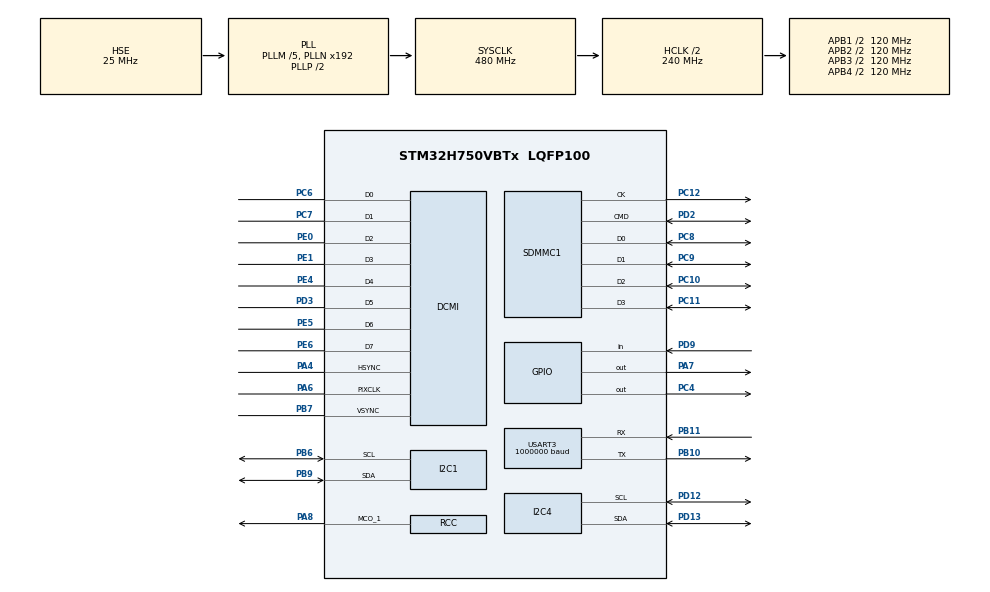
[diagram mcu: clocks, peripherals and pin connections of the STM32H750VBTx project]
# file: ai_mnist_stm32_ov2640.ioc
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CORTEX_M7.default_mode_Activation=1
DCMI.JPEGMode=DCMI_JPEG_DISABLE
DCMI.PCKPolarity=DCMI_PCKPOLARITY_RISING
DCMI.VSPolarity=DCMI_VSPOLARITY_HIGH
Dma.DCMI.0.Direction=DMA_PERIPH_TO_MEMORY
Dma.DCMI.0.EventEnable=DISABLE
Dma.DCMI.0.FIFOMode=DMA_FIFOMODE_DISABLE
Dma.DCMI.0.Instance=DMA1_Stream0
Dma.DCMI.0.MemDataAlignment=DMA_MDATAALIGN_WORD
Dma.DCMI.0.MemInc=DMA_MINC_ENABLE
Dma.DCMI.0.Mode=DMA_NORMAL
Dma.DCMI.0.PeriphDataAlignment=DMA_PDATAALIGN_WORD
Dma.DCMI.0.PeriphInc=DMA_PINC_DISABLE
Dma.DCMI.0.Polarity=HAL_DMAMUX_REQ_GEN_RISING
Dma.DCMI.0.Priority=DMA_PRIORITY_LOW
Dma.DCMI.0.RequestNumber=1
Dma.DCMI.0.SignalID=NONE
Dma.DCMI.0.SyncEnable=DISABLE
Dma.DCMI.0.SyncPolarity=HAL_DMAMUX_SYNC_NO_EVENT
Dma.DCMI.0.SyncRequestNumber=1
Dma.DCMI.0.SyncSignalID=NONE
Dma.Request0=DCMI
FATFS.BSP.number=1
FATFS._USE_LFN=1
FATFS0.BSP.STBoard=false
FATFS0.BSP.api=Unknown
FATFS0.BSP.instance=PD9
FATFS0.BSP.ip=GPIO
FATFS0.BSP.mode=Input
FATFS0.BSP.name=Detect_SDIO
FATFS0.BSP.solution=PD9
I2C1.Timing=0x307075B1
I2C4.Timing=0x307075B1
Mcu.Family=STM32H7
Mcu.Name=STM32H750VBTx
Mcu.Package=LQFP100
NVIC.DMA1_Stream0_IRQn=true\:0\:0\:false\:false\:true\:false\:true\:true
NVIC.PriorityGroup=NVIC_PRIORITYGROUP_4
NVIC.SDMMC1_IRQn=true\:0\:0\:false\:false\:true\:true\:true\:true
PA4.Mode=Slave_8_bits_External_Synchro
PA4.Signal=DCMI_HSYNC
PA6.Mode=Slave_8_bits_External_Synchro
PA6.Signal=DCMI_PIXCLK
PA7.Signal=GPIO_Output
PA8.Mode=Clock-out-1
PA8.Signal=RCC_MCO_1
PB10.Mode=Asynchronous
PB10.Signal=USART3_TX
PB11.Mode=Asynchronous
PB11.Signal=USART3_RX
PB6.Mode=I2C
PB6.Signal=I2C1_SCL
PB7.Mode=Slave_8_bits_External_Synchro
PB7.Signal=DCMI_VSYNC
PB9.Mode=I2C
PB9.Signal=I2C1_SDA
PC10.Mode=SD_4_bits_Wide_bus
PC10.Signal=SDMMC1_D2
PC11.Mode=SD_4_bits_Wide_bus
PC11.Signal=SDMMC1_D3
PC12.Mode=SD_4_bits_Wide_bus
PC12.Signal=SDMMC1_CK
PC14-OSC32_IN\ (OSC32_IN).Mode=LSE-External-Oscillator
PC14-OSC32_IN\ (OSC32_IN).Signal=RCC_OSC32_IN
PC15-OSC32_OUT\ (OSC32_OUT).Mode=LSE-External-Oscillator
PC15-OSC32_OUT\ (OSC32_OUT).Signal=RCC_OSC32_OUT
PC4.Signal=GPIO_Output
PC6.Mode=Slave_8_bits_External_Synchro
PC6.Signal=DCMI_D0
PC7.Mode=Slave_8_bits_External_Synchro
PC7.Signal=DCMI_D1
PC8.Mode=SD_4_bits_Wide_bus
PC8.Signal=SDMMC1_D0
PC9.Mode=SD_4_bits_Wide_bus
PC9.Signal=SDMMC1_D1
PD12.Mode=I2C
PD12.Signal=I2C4_SCL
PD13.Mode=I2C
PD13.Signal=I2C4_SDA
PD2.Mode=SD_4_bits_Wide_bus
PD2.Signal=SDMMC1_CMD
PD3.Mode=Slave_8_bits_External_Synchro
PD3.Signal=DCMI_D5
PD9.GPIO_PuPd=GPIO_PULLDOWN
PD9.Signal=GPIO_Input
PE0.Mode=Slave_8_bits_External_Synchro
PE0.Signal=DCMI_D2
PE1.Mode=Slave_8_bits_External_Synchro
PE1.Signal=DCMI_D3
PE4.Mode=Slave_8_bits_External_Synchro
PE4.Signal=DCMI_D4
PE5.Mode=Slave_8_bits_External_Synchro
PE5.Signal=DCMI_D6
PE6.Mode=Slave_8_bits_External_Synchro
PE6.Signal=DCMI_D7
PH0-OSC_IN\ (PH0).Mode=HSE-External-Oscillator
PH0-OSC_IN\ (PH0).Signal=RCC_OSC_IN
PH1-OSC_OUT\ (PH1).Mode=HSE-External-Oscillator
PH1-OSC_OUT\ (PH1).Signal=RCC_OSC_OUT
ProjectManager.HeapSize=0x200
ProjectManager.StackSize=0x400
ProjectManager.TargetToolchain=STM32CubeIDE
RCC.ADCFreq_Value=50390625
RCC.APB1Freq_Value=120000000
RCC.APB2Freq_Value=120000000
RCC.APB3Freq_Value=120000000
RCC.APB4Freq_Value=120000000
RCC.CortexFreq_Value=480000000
RCC.D1PPRE=RCC_APB3_DIV2
RCC.D2PPRE1=RCC_APB1_DIV2
RCC.D2PPRE2=RCC_APB2_DIV2
RCC.D3PPRE=RCC_APB4_DIV2
RCC.DIVM1=5
RCC.DIVN1=192
RCC.DIVQ1=64
RCC.HCLKFreq_Value=240000000
RCC.HPRE=RCC_HCLK_DIV2
RCC.PLL2FRACN=0
RCC.PLLFRACN=0
RCC.PLLSourceVirtual=RCC_PLLSOURCE_HSE
RCC.RCC_MCO1Source=RCC_MCO1SOURCE_HSE
RCC.SYSCLKFreq_VALUE=480000000
RCC.SYSCLKSource=RCC_SYSCLKSOURCE_PLLCLK
RCC.USBFreq_Value=15000000
USART3.BaudRate=1000000
USART3.VirtualMode-Asynchronous=VM_ASYNC
VP_FATFS_VS_SDIO.Mode=SDIO
VP_MEMORYMAP_VS_MEMORYMAP.Mode=CurAppReg
board=custom

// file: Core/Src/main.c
// /* USER CODE BEGIN Header */
// /**
//   ******************************************************************************
//   * @file           : main.c
//   * @brief          : Main program body
//   ******************************************************************************
//   * @attention
//   *
//   * Copyright (c) 2026 STMicroelectronics.
//   * All rights reserved.
//   *
//   * This software is licensed under terms that can be found in the LICENSE file
//   * in the root directory of this software component.
//   * If no LICENSE file comes with this software, it is provided AS-IS.
//   *
//   ******************************************************************************
//   */
// /* USER CODE END Header */

// /* Includes ------------------------------------------------------------------*/
// #include "main.h"
// #include "fatfs.h"

// /* Private includes ----------------------------------------------------------*/
// /* USER CODE BEGIN Includes */
// #include "ov7670.h"

// #include <stdio.h>
// #include <string.h>

// #include "mnist_784_8_10.h"

// //---------------------------------------------------------------------------------------------------------------------------
// // mode select
// #define CAMERA_UART_AND_OLED   // Change as needed

// #if defined(CAMERA_OLED_DISPLAY) || defined(CAMERA_UART_AND_OLED)
//     #define OLED_ENABLED
// #endif

// #ifdef OLED_ENABLED
// #include "ssd1306.h"
// #endif
// /* USER CODE END Includes */

// /* Private typedef -----------------------------------------------------------*/
// /* USER CODE BEGIN PTD */
// /* USER CODE END PTD */

// /* Private define ------------------------------------------------------------*/
// /* USER CODE BEGIN PD */
// /* USER CODE END PD */

// /* Private macro -------------------------------------------------------------*/
// /* USER CODE BEGIN PM */
// /* USER CODE END PM */

// /* Private variables ---------------------------------------------------------*/

// DCMI_HandleTypeDef hdcmi;
// DMA_HandleTypeDef hdma_dcmi;

// I2C_HandleTypeDef hi2c1;
// I2C_HandleTypeDef hi2c4;

// SD_HandleTypeDef hsd1;

// UART_HandleTypeDef huart3;

// /* USER CODE BEGIN PV */
// uint8_t frame_buf[160 * 120 * 2];
// uint8_t  gray_buf[160 * 120];
// uint8_t  small_buf[28 * 28];

// #ifdef OLED_ENABLED
// uint8_t oled_addr = 0;
// #endif
// /* USER CODE END PV */

// /* Private function prototypes -----------------------------------------------*/
// void SystemClock_Config(void);
// static void MPU_Config(void);
// static void MX_GPIO_Init(void);
// static void MX_DMA_Init(void);
// static void MX_DCMI_Init(void);
// static void MX_I2C1_Init(void);
// static void MX_USART3_UART_Init(void);
// static void MX_I2C4_Init(void);
// static void MX_SDMMC1_SD_Init(void);
// static void MX_SDMMC1_SD_Init(void);

// /* USER CODE BEGIN PFP */
// static void extract_gray(uint8_t *src, uint8_t *dst);
// static void downsample_28x28(uint8_t *src, uint8_t *dst);

// void SD_Card_Test(void);
// FRESULT SD_Save_Camera_Frame(uint8_t *buffer, uint32_t size, const char *filename);
// FRESULT SD_Save_28x28(uint8_t *small_buf, const char *filename);
// FRESULT SD_Log_Prediction(int digit);
// /* USER CODE END PFP */

// /* Private user code ---------------------------------------------------------*/
// /* USER CODE BEGIN 0 */

// /* Redirect printf to UART3 */
// int __io_putchar(int ch)
// {
//     HAL_UART_Transmit(&huart3, (uint8_t *)&ch, 1, HAL_MAX_DELAY);
//     return ch;
// }

// /* USER CODE END 0 */

// /**
//   * @brief  The application entry point.
//   * @retval int
//   */
// int main(void)
// {
//   /* USER CODE BEGIN 1 */
//   /* USER CODE END 1 */

//   MPU_Config();
//   HAL_Init();
//   SystemClock_Config();

//   /* Initialize all configured peripherals */
//   MX_GPIO_Init();
//   MX_DMA_Init();
//   MX_DCMI_Init();
//   MX_I2C1_Init();
//   MX_USART3_UART_Init();
//   MX_I2C4_Init();
//   MX_SDMMC1_SD_Init();
//   MX_FATFS_Init();

//   /* USER CODE BEGIN 2 */

//   // ====================== SD CARD MOUNT TEST ======================
//   SCB_CleanDCache();
//   SCB_InvalidateDCache();

//   SD_Card_Test();
//   // ====================== END SD TEST ======================

//   // Camera & OLED initialization (your original code)
//   HAL_GPIO_WritePin(GPIOA, GPIO_PIN_7, GPIO_PIN_RESET);
//   HAL_GPIO_WritePin(GPIOC, GPIO_PIN_4, GPIO_PIN_SET);
//   HAL_Delay(200);

//   // I2C scan...
//   uint8_t scan_result;
//   for(uint8_t addr = 1; addr < 128; addr++)
//   {
//       if(HAL_I2C_IsDeviceReady(&hi2c1, addr << 1, 1, 10) == HAL_OK)
//       {
//           scan_result = addr;
//           HAL_UART_Transmit(&huart3, (uint8_t*)"FOUND:", 6, 100);
//           HAL_UART_Transmit(&huart3, &scan_result, 1, 100);
//           HAL_UART_Transmit(&huart3, (uint8_t*)"\r\n", 2, 100);
//       }
//   }

//   if(OV7670_Init(&hi2c1) != HAL_OK)
//   {
//       HAL_UART_Transmit(&huart3, (uint8_t*)"CAM_ERROR\r\n", 11, 100);
//       Error_Handler();
//   }
//   HAL_UART_Transmit(&huart3, (uint8_t*)"CAM_OK\r\n", 8, 100);

//   // ... rest of your original initialization code (DCMI, OLED, etc.)
// #if defined(CAMERA_UART_DEBUG) || defined(CAMERA_UART_AND_OLED)
//   HAL_DCMI_Start_DMA(&hdcmi, DCMI_MODE_SNAPSHOT, (uint32_t)frame_buf, sizeof(frame_buf)/4);
//   HAL_Delay(2000);
//   // ... (your existing debug code)
// #endif

// #ifdef OLED_ENABLED
//   oled_addr = 0x3C;
//   if(SSD1306_Init(&hi2c4, oled_addr << 1) == HAL_OK)
//   {
//       HAL_UART_Transmit(&huart3, (uint8_t*)"OLED_OK\r\n", 9, 100);
//   }
//   else
//   {
//       oled_addr = 0;
//       HAL_UART_Transmit(&huart3, (uint8_t*)"OLED_INIT_FAIL\r\n", 16, 100);
//   }
// #endif

//   /* USER CODE END 2 */

//   while (1)
//   {
//     // // Your existing main loop (camera capture, inference, OLED...)
//     // HAL_DCMI_Start_DMA(&hdcmi, DCMI_MODE_SNAPSHOT, (uint32_t)frame_buf, sizeof(frame_buf)/4);
//     // HAL_Delay(500);
//     // HAL_DCMI_Stop(&hdcmi);

//     // extract_gray(frame_buf, gray_buf);
//     // downsample_28x28(gray_buf, small_buf);

//     // float features[784];
//     // for(int i = 0; i < 784; i++)
//     // {
//     //     features[i] = (float)small_buf[i] / 255.0f;
//     // }

//     // int predicted = mnist_model_predict(features, 784);

//     // uint8_t result_buf[20];
//     // sprintf((char*)result_buf, "DIGIT:%d\r\n", predicted);
//     // HAL_UART_Transmit(&huart3, result_buf, strlen((char*)result_buf), 100);

//     // // ... rest of your loop (debug print, OLED update, etc.)

//     // HAL_Delay(100);

//     // Capture frame
//         HAL_DCMI_Start_DMA(&hdcmi, DCMI_MODE_SNAPSHOT, (uint32_t)frame_buf, sizeof(frame_buf)/4);
//         HAL_Delay(300);           // adjust as needed
//         HAL_DCMI_Stop(&hdcmi);

//         extract_gray(frame_buf, gray_buf);
//         downsample_28x28(gray_buf, small_buf);

//         float features[784];
//         for(int i = 0; i < 784; i++) {
//             features[i] = (float)small_buf[i] / 255.0f;
//         }

//         int predicted = mnist_model_predict(features, 784);

//         // === SD CARD OPERATIONS ===
//         SD_Log_Prediction(predicted);                    // Log digit
//         SD_Save_28x28(small_buf, "0:/frame_28x28.bin"); // Save small image
//         // SD_Save_Camera_Frame(frame_buf, sizeof(frame_buf), "0:/raw_frame.bin"); // Full raw frame (big!)

//         // Print result
//         printf("DIGIT:%d\r\n", predicted);

//     #ifdef OLED_ENABLED
//         if(oled_addr != 0) {
//             SSD1306_Clear();
//             SSD1306_DrawGrayBuffer(small_buf, 0, 16, 1);
//             SSD1306_DrawDigit(predicted, 90, 24, 2);
//             SSD1306_UpdateScreen();
//         }
//     #endif

//         HAL_Delay(800);   // Adjust rate
//   }
// }

// /* SD Card Test Function */
// void SD_Card_Test(void)
// {
//     printf("\r\n=== SD Card Mount Test (STM32H750) ===\r\n");

//     FATFS fs;
//     FRESULT fr;

//     fr = f_mount(&fs, "0:", 1);
//     if (fr != FR_OK)
//     {
//         printf("Mount FAILED! Error: %d\r\n", fr);
//         return;
//     }

//     printf("Mount SUCCESS!\r\n");

//     DWORD free_clust;
//     FATFS *pfs;
//     if (f_getfree("0:", &free_clust, &pfs) == FR_OK)
//     {
//         printf("Free space: ~%lu KB\r\n", ((free_clust * pfs->csize) * 512UL) / 1024UL);
//     }

//     FIL fil;
//     UINT bw;
//     if (f_open(&fil, "0:/test_sd.txt", FA_CREATE_ALWAYS | FA_WRITE) == FR_OK)
//     {
//         f_write(&fil, "SD Card works on DevEBOX STM32H750!\r\n", 38, &bw);
//         f_close(&fil);
//         printf("Created test file: test_sd.txt\r\n");
//     }
//     else
//     {
//         printf("Failed to create test file\r\n");
//     }

//     printf("SD Card Test Finished\r\n\r\n");
// }
// /* ==================== SD CARD HELPERS ==================== */

// FRESULT SD_Save_Camera_Frame(uint8_t *buffer, uint32_t size, const char *filename)
// {
//     FIL fil;
//     UINT bw;
//     FRESULT fr;

//     fr = f_open(&fil, filename, FA_CREATE_ALWAYS | FA_WRITE);
//     if (fr != FR_OK) {
//         printf("Open failed: %d\r\n", fr);
//         return fr;
//     }

//     fr = f_write(&fil, buffer, size, &bw);
//     f_close(&fil);

//     printf("Saved %u bytes to %s\r\n", bw, filename);
//     return fr;
// }

// FRESULT SD_Save_28x28(uint8_t *small_buf, const char *filename)
// {
//     FIL fil;
//     UINT bw;
//     FRESULT fr;

//     fr = f_open(&fil, filename, FA_CREATE_ALWAYS | FA_WRITE);
//     if (fr != FR_OK) {
//         printf("Open failed: %d\r\n", fr);
//         return fr;
//     }

//     char header[32];
//     sprintf(header, "28x28\r\n");
//     f_write(&fil, header, strlen(header), &bw);

//     fr = f_write(&fil, small_buf, 28*28, &bw);
//     f_close(&fil);

//     printf("Saved 28x28 image to %s\r\n", filename);
//     return fr;
// }

// FRESULT SD_Log_Prediction(int digit)
// {
//     FIL fil;
//     UINT bw;
//     FRESULT fr;

//     fr = f_open(&fil, "0:/predictions.csv", FA_OPEN_APPEND | FA_WRITE);
//     if (fr == FR_NO_FILE) {
//         fr = f_open(&fil, "0:/predictions.csv", FA_CREATE_ALWAYS | FA_WRITE);
//         if (fr == FR_OK) {
//             f_write(&fil, "Tick,Digit\r\n", 12, &bw);
//         }
//     }
//     if (fr != FR_OK) return fr;

//     char line[32];
//     sprintf(line, "%lu,%d\r\n", HAL_GetTick(), digit);
//     f_write(&fil, line, strlen(line), &bw);
//     f_close(&fil);

//     return FR_OK;
// }

// /**
//   * @brief System Clock Configuration
//   * @retval None
//   */
// void SystemClock_Config(void)
// {
//   RCC_OscInitTypeDef RCC_OscInitStruct = {0};
//   RCC_ClkInitTypeDef RCC_ClkInitStruct = {0};

//   /** Supply configuration update enable
//   */
//   HAL_PWREx_ConfigSupply(PWR_LDO_SUPPLY);

//   /** Configure the main internal regulator output voltage
//   */
//   __HAL_PWR_VOLTAGESCALING_CONFIG(PWR_REGULATOR_VOLTAGE_SCALE0);

//   while(!__HAL_PWR_GET_FLAG(PWR_FLAG_VOSRDY)) {}

//   /** Initializes the RCC Oscillators according to the specified parameters
//   * in the RCC_OscInitTypeDef structure.
//   */
//   RCC_OscInitStruct.OscillatorType = RCC_OSCILLATORTYPE_HSE;
//   RCC_OscInitStruct.HSEState = RCC_HSE_ON;
//   RCC_OscInitStruct.PLL.PLLState = RCC_PLL_ON;
//   RCC_OscInitStruct.PLL.PLLSource = RCC_PLLSOURCE_HSE;
//   RCC_OscInitStruct.PLL.PLLM = 5;
//   RCC_OscInitStruct.PLL.PLLN = 192;
//   RCC_OscInitStruct.PLL.PLLP = 2;
//   RCC_OscInitStruct.PLL.PLLQ = 64;
//   RCC_OscInitStruct.PLL.PLLR = 2;
//   RCC_OscInitStruct.PLL.PLLRGE = RCC_PLL1VCIRANGE_2;
//   RCC_OscInitStruct.PLL.PLLVCOSEL = RCC_PLL1VCOWIDE;
//   RCC_OscInitStruct.PLL.PLLFRACN = 0;
//   if (HAL_RCC_OscConfig(&RCC_OscInitStruct) != HAL_OK)
//   {
//     Error_Handler();
//   }

//   /** Initializes the CPU, AHB and APB buses clocks
//   */
//   RCC_ClkInitStruct.ClockType = RCC_CLOCKTYPE_HCLK|RCC_CLOCKTYPE_SYSCLK
//                               |RCC_CLOCKTYPE_PCLK1|RCC_CLOCKTYPE_PCLK2
//                               |RCC_CLOCKTYPE_D3PCLK1|RCC_CLOCKTYPE_D1PCLK1;
//   RCC_ClkInitStruct.SYSCLKSource = RCC_SYSCLKSOURCE_PLLCLK;
//   RCC_ClkInitStruct.SYSCLKDivider = RCC_SYSCLK_DIV1;
//   RCC_ClkInitStruct.AHBCLKDivider = RCC_HCLK_DIV2;
//   RCC_ClkInitStruct.APB3CLKDivider = RCC_APB3_DIV2;
//   RCC_ClkInitStruct.APB1CLKDivider = RCC_APB1_DIV2;
//   RCC_ClkInitStruct.APB2CLKDivider = RCC_APB2_DIV2;
//   RCC_ClkInitStruct.APB4CLKDivider = RCC_APB4_DIV2;

//   if (HAL_RCC_ClockConfig(&RCC_ClkInitStruct, FLASH_LATENCY_4) != HAL_OK)
//   {
//     Error_Handler();
//   }
//   HAL_RCC_MCOConfig(RCC_MCO1, RCC_MCO1SOURCE_HSE, RCC_MCODIV_1);
// }

// /**
//   * @brief DCMI Initialization Function
//   * @param None
//   * @retval None
//   */
// static void MX_DCMI_Init(void)
// {

//   /* USER CODE BEGIN DCMI_Init 0 */

//   /* USER CODE END DCMI_Init 0 */

//   /* USER CODE BEGIN DCMI_Init 1 */

//   /* USER CODE END DCMI_Init 1 */
//   hdcmi.Instance = DCMI;
//   hdcmi.Init.SynchroMode = DCMI_SYNCHRO_HARDWARE;
//   hdcmi.Init.PCKPolarity = DCMI_PCKPOLARITY_RISING;
//   hdcmi.Init.VSPolarity = DCMI_VSPOLARITY_HIGH;
//   hdcmi.Init.HSPolarity = DCMI_HSPOLARITY_LOW;
//   hdcmi.Init.CaptureRate = DCMI_CR_ALL_FRAME;
//   hdcmi.Init.ExtendedDataMode = DCMI_EXTEND_DATA_8B;
//   hdcmi.Init.JPEGMode = DCMI_JPEG_DISABLE;
//   hdcmi.Init.ByteSelectMode = DCMI_BSM_ALL;
//   hdcmi.Init.ByteSelectStart = DCMI_OEBS_ODD;
//   hdcmi.Init.LineSelectMode = DCMI_LSM_ALL;
//   hdcmi.Init.LineSelectStart = DCMI_OELS_ODD;
//   if (HAL_DCMI_Init(&hdcmi) != HAL_OK)
//   {
//     Error_Handler();
//   }
//   /* USER CODE BEGIN DCMI_Init 2 */

//   /* USER CODE END DCMI_Init 2 */

// }

// /**
//   * @brief I2C1 Initialization Function
//   * @param None
//   * @retval None
//   */
// static void MX_I2C1_Init(void)
// {

//   /* USER CODE BEGIN I2C1_Init 0 */

//   /* USER CODE END I2C1_Init 0 */

//   /* USER CODE BEGIN I2C1_Init 1 */

//   /* USER CODE END I2C1_Init 1 */
//   hi2c1.Instance = I2C1;
//   hi2c1.Init.Timing = 0x307075B1;
//   hi2c1.Init.OwnAddress1 = 0;
//   hi2c1.Init.AddressingMode = I2C_ADDRESSINGMODE_7BIT;
//   hi2c1.Init.DualAddressMode = I2C_DUALADDRESS_DISABLE;
//   hi2c1.Init.OwnAddress2 = 0;
//   hi2c1.Init.OwnAddress2Masks = I2C_OA2_NOMASK;
//   hi2c1.Init.GeneralCallMode = I2C_GENERALCALL_DISABLE;
//   hi2c1.Init.NoStretchMode = I2C_NOSTRETCH_DISABLE;
//   if (HAL_I2C_Init(&hi2c1) != HAL_OK)
//   {
//     Error_Handler();
//   }

//   /** Configure Analogue filter
//   */
//   if (HAL_I2CEx_ConfigAnalogFilter(&hi2c1, I2C_ANALOGFILTER_ENABLE) != HAL_OK)
//   {
//     Error_Handler();
//   }

//   /** Configure Digital filter
//   */
//   if (HAL_I2CEx_ConfigDigitalFilter(&hi2c1, 0) != HAL_OK)
//   {
//     Error_Handler();
//   }
//   /* USER CODE BEGIN I2C1_Init 2 */

//   /* USER CODE END I2C1_Init 2 */

// }

// /**
//   * @brief I2C4 Initialization Function
//   * @param None
//   * @retval None
//   */
// static void MX_I2C4_Init(void)
// {

//   /* USER CODE BEGIN I2C4_Init 0 */

//   /* USER CODE END I2C4_Init 0 */

//   /* USER CODE BEGIN I2C4_Init 1 */

//   /* USER CODE END I2C4_Init 1 */
//   hi2c4.Instance = I2C4;
//   hi2c4.Init.Timing = 0x307075B1;
//   hi2c4.Init.OwnAddress1 = 0;
//   hi2c4.Init.AddressingMode = I2C_ADDRESSINGMODE_7BIT;
//   hi2c4.Init.DualAddressMode = I2C_DUALADDRESS_DISABLE;
//   hi2c4.Init.OwnAddress2 = 0;
//   hi2c4.Init.OwnAddress2Masks = I2C_OA2_NOMASK;
//   hi2c4.Init.GeneralCallMode = I2C_GENERALCALL_DISABLE;
//   hi2c4.Init.NoStretchMode = I2C_NOSTRETCH_DISABLE;
//   if (HAL_I2C_Init(&hi2c4) != HAL_OK)
//   {
//     Error_Handler();
//   }

//   /** Configure Analogue filter
//   */
//   if (HAL_I2CEx_ConfigAnalogFilter(&hi2c4, I2C_ANALOGFILTER_ENABLE) != HAL_OK)
//   {
//     Error_Handler();
//   }

//   /** Configure Digital filter
//   */
//   if (HAL_I2CEx_ConfigDigitalFilter(&hi2c4, 0) != HAL_OK)
//   {
//     Error_Handler();
//   }
//   /* USER CODE BEGIN I2C4_Init 2 */

//   /* USER CODE END I2C4_Init 2 */

// }

// /**
//   * @brief SDMMC1 Initialization Function
//   * @param None
//   * @retval None
//   */
// static void MX_SDMMC1_SD_Init(void)
// {

//   /* USER CODE BEGIN SDMMC1_Init 0 */

//   /* USER CODE END SDMMC1_Init 0 */

//   /* USER CODE BEGIN SDMMC1_Init 1 */

//   /* USER CODE END SDMMC1_Init 1 */
//   hsd1.Instance = SDMMC1;
//   hsd1.Init.ClockEdge = SDMMC_CLOCK_EDGE_RISING;
//   hsd1.Init.ClockPowerSave = SDMMC_CLOCK_POWER_SAVE_DISABLE;
//   hsd1.Init.BusWide = SDMMC_BUS_WIDE_4B;
//   hsd1.Init.HardwareFlowControl = SDMMC_HARDWARE_FLOW_CONTROL_DISABLE;
//   hsd1.Init.ClockDiv = 0;
//   if (HAL_SD_Init(&hsd1) != HAL_OK)
//   {
//     Error_Handler();
//   }
//   /* USER CODE BEGIN SDMMC1_Init 2 */

//   /* USER CODE END SDMMC1_Init 2 */

// }

// /**
//   * @brief USART3 Initialization Function
//   * @param None
//   * @retval None
//   */
// static void MX_USART3_UART_Init(void)
// {

//   /* USER CODE BEGIN USART3_Init 0 */

//   /* USER CODE END USART3_Init 0 */

//   /* USER CODE BEGIN USART3_Init 1 */

//   /* USER CODE END USART3_Init 1 */
//   huart3.Instance = USART3;
//   huart3.Init.BaudRate = 1000000;
//   huart3.Init.WordLength = UART_WORDLENGTH_8B;
//   huart3.Init.StopBits = UART_STOPBITS_1;
//   huart3.Init.Parity = UART_PARITY_NONE;
//   huart3.Init.Mode = UART_MODE_TX_RX;
//   huart3.Init.HwFlowCtl = UART_HWCONTROL_NONE;
//   huart3.Init.OverSampling = UART_OVERSAMPLING_16;
//   huart3.Init.OneBitSampling = UART_ONE_BIT_SAMPLE_DISABLE;
//   huart3.Init.ClockPrescaler = UART_PRESCALER_DIV1;
//   huart3.AdvancedInit.AdvFeatureInit = UART_ADVFEATURE_NO_INIT;
//   if (HAL_UART_Init(&huart3) != HAL_OK)
//   {
//     Error_Handler();
//   }
//   if (HAL_UARTEx_SetTxFifoThreshold(&huart3, UART_TXFIFO_THRESHOLD_1_8) != HAL_OK)
//   {
//     Error_Handler();
//   }
//   if (HAL_UARTEx_SetRxFifoThreshold(&huart3, UART_RXFIFO_THRESHOLD_1_8) != HAL_OK)
//   {
//     Error_Handler();
//   }
//   if (HAL_UARTEx_DisableFifoMode(&huart3) != HAL_OK)
//   {
//     Error_Handler();
//   }
//   /* USER CODE BEGIN USART3_Init 2 */

//   /* USER CODE END USART3_Init 2 */

// }

// /**
//   * Enable DMA controller clock
//   */
// static void MX_DMA_Init(void)
// {

//   /* DMA controller clock enable */
//   __HAL_RCC_DMA1_CLK_ENABLE();

//   /* DMA interrupt init */
//   /* DMA1_Stream0_IRQn interrupt configuration */
//   HAL_NVIC_SetPriority(DMA1_Stream0_IRQn, 0, 0);
//   HAL_NVIC_EnableIRQ(DMA1_Stream0_IRQn);

// }

// /**
//   * @brief GPIO Initialization Function
//   * @param None
//   * @retval None
//   */
// static void MX_GPIO_Init(void)
// {
//   GPIO_InitTypeDef GPIO_InitStruct = {0};
//   /* USER CODE BEGIN MX_GPIO_Init_1 */

//   /* USER CODE END MX_GPIO_Init_1 */

//   /* GPIO Ports Clock Enable */
//   __HAL_RCC_GPIOE_CLK_ENABLE();
//   __HAL_RCC_GPIOC_CLK_ENABLE();
//   __HAL_RCC_GPIOH_CLK_ENABLE();
//   __HAL_RCC_GPIOA_CLK_ENABLE();
//   __HAL_RCC_GPIOB_CLK_ENABLE();
//   __HAL_RCC_GPIOD_CLK_ENABLE();

//   /*Configure GPIO pin Output Level */
//   HAL_GPIO_WritePin(GPIOA, GPIO_PIN_7, GPIO_PIN_RESET);

//   /*Configure GPIO pin Output Level */
//   HAL_GPIO_WritePin(GPIOC, GPIO_PIN_4, GPIO_PIN_RESET);

//   /*Configure GPIO pin : PA7 */
//   GPIO_InitStruct.Pin = GPIO_PIN_7;
//   GPIO_InitStruct.Mode = GPIO_MODE_OUTPUT_PP;
//   GPIO_InitStruct.Pull = GPIO_NOPULL;
//   GPIO_InitStruct.Speed = GPIO_SPEED_FREQ_LOW;
//   HAL_GPIO_Init(GPIOA, &GPIO_InitStruct);

//   /*Configure GPIO pin : PC4 */
//   GPIO_InitStruct.Pin = GPIO_PIN_4;
//   GPIO_InitStruct.Mode = GPIO_MODE_OUTPUT_PP;
//   GPIO_InitStruct.Pull = GPIO_NOPULL;
//   GPIO_InitStruct.Speed = GPIO_SPEED_FREQ_LOW;
//   HAL_GPIO_Init(GPIOC, &GPIO_InitStruct);

//   /*Configure GPIO pin : PD9 */
//   GPIO_InitStruct.Pin = GPIO_PIN_9;
//   GPIO_InitStruct.Mode = GPIO_MODE_INPUT;
//   GPIO_InitStruct.Pull = GPIO_PULLDOWN;
//   HAL_GPIO_Init(GPIOD, &GPIO_InitStruct);

//   /*Configure GPIO pin : PA8 */
//   GPIO_InitStruct.Pin = GPIO_PIN_8;
//   GPIO_InitStruct.Mode = GPIO_MODE_AF_PP;
//   GPIO_InitStruct.Pull = GPIO_NOPULL;
//   GPIO_InitStruct.Speed = GPIO_SPEED_FREQ_LOW;
//   GPIO_InitStruct.Alternate = GPIO_AF0_MCO;
//   HAL_GPIO_Init(GPIOA, &GPIO_InitStruct);

//   /* USER CODE BEGIN MX_GPIO_Init_2 */
// #ifdef OLED_ENABLED
//   // ---> I2C4 pins, only configured in OLED mode, so debug mode's GPIO state is
//   //      identical to the original known-working build
//   GPIO_InitTypeDef GPIO_InitStruct_I2C4 = {0};
//   GPIO_InitStruct_I2C4.Pin       = GPIO_PIN_12 | GPIO_PIN_13;   // ---> PD12 = SCL, PD13 = SDA
//   GPIO_InitStruct_I2C4.Mode      = GPIO_MODE_AF_OD;
//   GPIO_InitStruct_I2C4.Pull      = GPIO_PULLUP;
//   GPIO_InitStruct_I2C4.Speed     = GPIO_SPEED_FREQ_LOW;
//   GPIO_InitStruct_I2C4.Alternate = GPIO_AF4_I2C4;
//   HAL_GPIO_Init(GPIOD, &GPIO_InitStruct_I2C4);
// #endif
//   /* USER CODE END MX_GPIO_Init_2 */
// }

// /* USER CODE BEGIN 4 */

// //---------------------------------------------------------------------------------------------------------------------------
// // extract_gray :
// //   ---> extracts Y channel from YUV422 frame buffer
// //   ---> YUV422 format : Y0 U0 Y1 V0 Y2 U2 Y3 V2 ...
// //   ---> inputs  : src  ---> YUV422 buffer (160*120*2 bytes)
// //   ---> outputs : dst  ---> grayscale buffer (160*120 bytes)
// //---------------------------------------------------------------------------------------------------------------------------
// static void extract_gray(uint8_t *src, uint8_t *dst)
// {
//     for(int i = 0; i < 160 * 120; i++)
//     {
//         dst[i] = src[i * 2 + 1];     // ---> Y is at the odd byte index for this camera
//     }
// }
// //---------------------------------------------------------------------------------------------------------------------------

// //---------------------------------------------------------------------------------------------------------------------------
// // downsample_28x28 :
// //   ---> center crops 90x120 from 160x120 then downsamples to 28x28
// //   ---> applies adaptive threshold + inversion to match MNIST style
// //   ---> inputs  : src ---> grayscale buffer (160*120 bytes)
// //   ---> outputs : dst ---> 28x28 buffer (784 bytes)
// //---------------------------------------------------------------------------------------------------------------------------
// static void downsample_28x28(uint8_t *src, uint8_t *dst)
// {
//     int x_start = 35;
//     int y_start = 0;
//     int width   = 90;
//     int height  = 120;

//     // ---> compute adaptive threshold from center region
//     uint32_t total = 0;
//     for(int y = y_start + 5; y < y_start + height - 5; y++)
//         for(int x = x_start + 5; x < x_start + width - 5; x++)
//             total += src[y * 160 + x];
//     uint8_t threshold = (uint8_t)(total / (100 * 100));

//     // ---> downsample to 28x28
//     for(int row = 0; row < 28; row++)
//     {
//         for(int col = 0; col < 28; col++)
//         {
//             uint32_t sum = 0;
//             int count = 0;

//             for(int dy = 0; dy < 4; dy++)
//             {
//                 for(int dx = 0; dx < 4; dx++)
//                 {
//                     int y = y_start + (row * height / 28) + dy;
//                     int x = x_start + (col * width  / 28) + dx;
//                     if(y < 120 && x < 160)
//                     {
//                         sum += src[y * 160 + x];
//                         count++;
//                     }
//                 }
//             }

//             uint8_t avg = count > 0 ? (uint8_t)(sum / count) : 128;

//             // ---> stretch contrast instead of hard threshold, invert so dark digit
//             //      on white paper becomes bright on dark, like MNIST
//             dst[row * 28 + col] = (avg < threshold) ? (uint8_t)((threshold - avg) * 255 / threshold) : 0;
//         }
//     }

//     // ---> only force left and right borders
//     for(int i = 0; i < 28; i++)
//     {
//         dst[i * 28 + 0]  = 0;
//         dst[i * 28 + 1]  = 0;
//         dst[i * 28 + 2]  = 0;
//         dst[i * 28 + 27] = 0;
//         dst[i * 28 + 26] = 0;
//         dst[i * 28 + 25] = 0;
//     }
// }

// //---------------------------------------------------------------------------------------------------------------------------

// /* USER CODE END 4 */

//  /* MPU Configuration */

// void MPU_Config(void)
// {
//   MPU_Region_InitTypeDef MPU_InitStruct = {0};

//   /* Disables the MPU */
//   HAL_MPU_Disable();

//   /** Initializes and configures the Region and the memory to be protected
//   */
//   MPU_InitStruct.Enable = MPU_REGION_ENABLE;
//   MPU_InitStruct.Number = MPU_REGION_NUMBER0;
//   MPU_InitStruct.BaseAddress = 0x0;
//   MPU_InitStruct.Size = MPU_REGION_SIZE_4GB;
//   MPU_InitStruct.SubRegionDisable = 0x87;
//   MPU_InitStruct.TypeExtField = MPU_TEX_LEVEL0;
//   MPU_InitStruct.AccessPermission = MPU_REGION_NO_ACCESS;
//   MPU_InitStruct.DisableExec = MPU_INSTRUCTION_ACCESS_DISABLE;
//   MPU_InitStruct.IsShareable = MPU_ACCESS_SHAREABLE;
//   MPU_InitStruct.IsCacheable = MPU_ACCESS_NOT_CACHEABLE;
//   MPU_InitStruct.IsBufferable = MPU_ACCESS_NOT_BUFFERABLE;

//   HAL_MPU_ConfigRegion(&MPU_InitStruct);
//   /* Enables the MPU */
//   HAL_MPU_Enable(MPU_PRIVILEGED_DEFAULT);

// }

// /**
//   * @brief  This function is executed in case of error occurrence.
//   * @retval None
//   */
// void Error_Handler(void)
// {
//   /* USER CODE BEGIN Error_Handler_Debug */
//   /* User can add his own implementation to report the HAL error return state */
//   __disable_irq();
//   while (1)
//   {
//   }
//   /* USER CODE END Error_Handler_Debug */
// }
// #ifdef USE_FULL_ASSERT
// /**
//   * @brief  Reports the name of the source file and the source line number
//   *         where the assert_param error has occurred.
//   * @param  file: pointer to the source file name
//   * @param  line: assert_param error line source number
//   * @retval None
//   */
// void assert_failed(uint8_t *file, uint32_t line)
// {
//   /* USER CODE BEGIN 6 */
//   /* User can add his own implementation to report the file name and line number,
//      ex: printf("Wrong parameters value: file %s on line %d\r\n", file, line) */
//   /* USER CODE END 6 */
// }
// #endif /* USE_FULL_ASSERT */

/* USER CODE BEGIN Header */
/**
  ******************************************************************************
  * @file           : main.c
  * @brief          : Main program body
  ******************************************************************************
  * @attention
  *
  * Copyright (c) 2026 STMicroelectronics.
  * All rights reserved.
  *
  * This software is licensed under terms that can be found in the LICENSE file
  * in the root directory of this software component.
  * If no LICENSE file comes with this software, it is provided AS-IS.
  *
  ******************************************************************************
  */
/* USER CODE END Header */

#include "main.h"
#include "fatfs.h"

/* USER CODE BEGIN Includes */
#include "ov7670.h"

#include <stdio.h>
#include <string.h>

#include "mnist_784_8_10.h"

//---------------------------------------------------------------------------------------------------------------------------
// mode select
#define CAMERA_UART_AND_OLED   // Change as needed

#if defined(CAMERA_OLED_DISPLAY) || defined(CAMERA_UART_AND_OLED)
    #define OLED_ENABLED
#endif

#ifdef OLED_ENABLED
#include "ssd1306.h"
#endif
/* USER CODE END Includes */

DCMI_HandleTypeDef hdcmi;
DMA_HandleTypeDef hdma_dcmi;

I2C_HandleTypeDef hi2c1;
I2C_HandleTypeDef hi2c4;

SD_HandleTypeDef hsd1;

UART_HandleTypeDef huart3;

/* USER CODE BEGIN PV */
uint8_t frame_buf[160 * 120 * 2];
uint8_t  gray_buf[160 * 120];
uint8_t  small_buf[28 * 28];

#ifdef OLED_ENABLED
uint8_t oled_addr = 0;
#endif
/* USER CODE END PV */

void SystemClock_Config(void);
static void MPU_Config(void);
static void MX_GPIO_Init(void);
static void MX_DMA_Init(void);
static void MX_DCMI_Init(void);
static void MX_I2C1_Init(void);
static void MX_USART3_UART_Init(void);
static void MX_I2C4_Init(void);
static void MX_SDMMC1_SD_Init(void);

/* USER CODE BEGIN PFP */
static void extract_gray(uint8_t *src, uint8_t *dst);
static void downsample_28x28(uint8_t *src, uint8_t *dst);
void SD_Card_Test(void);   // SD test function
/* USER CODE END PFP */

/* USER CODE BEGIN 0 */

/* Redirect printf to UART3 */
int __io_putchar(int ch)
{
    HAL_UART_Transmit(&huart3, (uint8_t *)&ch, 1, HAL_MAX_DELAY);
    return ch;
}

/* USER CODE END 0 */

int main(void)
{

  MPU_Config();
  HAL_Init();
  SystemClock_Config();

  /* Initialize all configured peripherals */
  MX_GPIO_Init();
  MX_DMA_Init();
  MX_DCMI_Init();
  MX_I2C1_Init();
  MX_USART3_UART_Init();
  MX_I2C4_Init();
  MX_SDMMC1_SD_Init();
  MX_FATFS_Init();

  /* USER CODE BEGIN 2 */

  // ====================== SD CARD MOUNT TEST ======================
  SD_Card_Test();
  // ====================== END SD TEST ======================

  // Camera & OLED initialization (your original code)
  HAL_GPIO_WritePin(GPIOA, GPIO_PIN_7, GPIO_PIN_RESET);
  HAL_GPIO_WritePin(GPIOC, GPIO_PIN_4, GPIO_PIN_SET);
  HAL_Delay(200);

  // I2C scan...
  uint8_t scan_result;
  for(uint8_t addr = 1; addr < 128; addr++)
  {
      if(HAL_I2C_IsDeviceReady(&hi2c1, addr << 1, 1, 10) == HAL_OK)
      {
          scan_result = addr;
          HAL_UART_Transmit(&huart3, (uint8_t*)"FOUND:", 6, 100);
          HAL_UART_Transmit(&huart3, &scan_result, 1, 100);
          HAL_UART_Transmit(&huart3, (uint8_t*)"\r\n", 2, 100);
      }
  }

  if(OV7670_Init(&hi2c1) != HAL_OK)
  {
      HAL_UART_Transmit(&huart3, (uint8_t*)"CAM_ERROR\r\n", 11, 100);
      Error_Handler();
  }
  HAL_UART_Transmit(&huart3, (uint8_t*)"CAM_OK\r\n", 8, 100);

  // ... rest of your original initialization code (DCMI, OLED, etc.)
#if defined(CAMERA_UART_DEBUG) || defined(CAMERA_UART_AND_OLED)
  HAL_DCMI_Start_DMA(&hdcmi, DCMI_MODE_SNAPSHOT, (uint32_t)frame_buf, sizeof(frame_buf)/4);
  HAL_Delay(2000);
  // ... (your existing debug code)
#endif

#ifdef OLED_ENABLED
  oled_addr = 0x3C;
  if(SSD1306_Init(&hi2c4, oled_addr << 1) == HAL_OK)
  {
      HAL_UART_Transmit(&huart3, (uint8_t*)"OLED_OK\r\n", 9, 100);
  }
  else
  {
      oled_addr = 0;
      HAL_UART_Transmit(&huart3, (uint8_t*)"OLED_INIT_FAIL\r\n", 16, 100);
  }
#endif

  /* USER CODE END 2 */

  while (1)
  {
    // Your existing main loop (camera capture, inference, OLED...)
    HAL_DCMI_Start_DMA(&hdcmi, DCMI_MODE_SNAPSHOT, (uint32_t)frame_buf, sizeof(frame_buf)/4);
    HAL_Delay(500);
    HAL_DCMI_Stop(&hdcmi);

    extract_gray(frame_buf, gray_buf);
    downsample_28x28(gray_buf, small_buf);

    float features[784];
    for(int i = 0; i < 784; i++)
    {
        features[i] = (float)small_buf[i] / 255.0f;
    }

    int predicted = mnist_model_predict(features, 784);

    uint8_t result_buf[20];
    sprintf((char*)result_buf, "DIGIT:%d\r\n", predicted);
    HAL_UART_Transmit(&huart3, result_buf, strlen((char*)result_buf), 100);

    // ... rest of your loop (debug print, OLED update, etc.)

    HAL_Delay(100);
  }
}

/* SD Card Test Function */
void SD_Card_Test(void)
{
    printf("\r\n=== SD Card Mount Test (STM32H750) ===\r\n");

    FATFS fs;
    FRESULT fr;

    fr = f_mount(&fs, "0:", 1);
    if (fr != FR_OK)
    {
        printf("Mount FAILED! Error: %d\r\n", fr);
        return;
    }

    printf("Mount SUCCESS!\r\n");

    DWORD free_clust;
    FATFS *pfs;
    if (f_getfree("0:", &free_clust, &pfs) == FR_OK)
    {
        printf("Free space: ~%lu KB\r\n", ((free_clust * pfs->csize) * 512UL) / 1024UL);
    }

    FIL fil;
    UINT bw;
    if (f_open(&fil, "0:/test_sd.txt", FA_CREATE_ALWAYS | FA_WRITE) == FR_OK)
    {
        f_write(&fil, "SD Card works on DevEBOX STM32H750!\r\n", 38, &bw);
        f_close(&fil);
        printf("Created test file: test_sd.txt\r\n");
    }
    else
    {
        printf("Failed to create test file\r\n");
    }

    printf("SD Card Test Finished\r\n\r\n");
}

/* Rest of your functions (SystemClock_Config, MX_xxx_Init, extract_gray, downsample_28x28, MPU_Config, Error_Handler...) */
/* ... keep everything else exactly as you had it ... */

void SystemClock_Config(void)
{
  RCC_OscInitTypeDef RCC_OscInitStruct = {0};
  RCC_ClkInitTypeDef RCC_ClkInitStruct = {0};

  /** Supply configuration update enable
  */
  HAL_PWREx_ConfigSupply(PWR_LDO_SUPPLY);

  /** Configure the main internal regulator output voltage
  */
  __HAL_PWR_VOLTAGESCALING_CONFIG(PWR_REGULATOR_VOLTAGE_SCALE0);

  while(!__HAL_PWR_GET_FLAG(PWR_FLAG_VOSRDY)) {}

  /** Initializes the RCC Oscillators according to the specified parameters
  * in the RCC_OscInitTypeDef structure.
  */
  RCC_OscInitStruct.OscillatorType = RCC_OSCILLATORTYPE_HSE;
  RCC_OscInitStruct.HSEState = RCC_HSE_ON;
  RCC_OscInitStruct.PLL.PLLState = RCC_PLL_ON;
  RCC_OscInitStruct.PLL.PLLSource = RCC_PLLSOURCE_HSE;
  RCC_OscInitStruct.PLL.PLLM = 5;
  RCC_OscInitStruct.PLL.PLLN = 192;
  RCC_OscInitStruct.PLL.PLLP = 2;
  RCC_OscInitStruct.PLL.PLLQ = 64;
  RCC_OscInitStruct.PLL.PLLR = 2;
  RCC_OscInitStruct.PLL.PLLRGE = RCC_PLL1VCIRANGE_2;
  RCC_OscInitStruct.PLL.PLLVCOSEL = RCC_PLL1VCOWIDE;
  RCC_OscInitStruct.PLL.PLLFRACN = 0;
  if (HAL_RCC_OscConfig(&RCC_OscInitStruct) != HAL_OK)
  {
    Error_Handler();
  }

  /** Initializes the CPU, AHB and APB buses clocks
  */
  RCC_ClkInitStruct.ClockType = RCC_CLOCKTYPE_HCLK|RCC_CLOCKTYPE_SYSCLK
                              |RCC_CLOCKTYPE_PCLK1|RCC_CLOCKTYPE_PCLK2
                              |RCC_CLOCKTYPE_D3PCLK1|RCC_CLOCKTYPE_D1PCLK1;
  RCC_ClkInitStruct.SYSCLKSource = RCC_SYSCLKSOURCE_PLLCLK;
  RCC_ClkInitStruct.SYSCLKDivider = RCC_SYSCLK_DIV1;
  RCC_ClkInitStruct.AHBCLKDivider = RCC_HCLK_DIV2;
  RCC_ClkInitStruct.APB3CLKDivider = RCC_APB3_DIV2;
  RCC_ClkInitStruct.APB1CLKDivider = RCC_APB1_DIV2;
  RCC_ClkInitStruct.APB2CLKDivider = RCC_APB2_DIV2;
  RCC_ClkInitStruct.APB4CLKDivider = RCC_APB4_DIV2;

  if (HAL_RCC_ClockConfig(&RCC_ClkInitStruct, FLASH_LATENCY_4) != HAL_OK)
  {
    Error_Handler();
  }
  HAL_RCC_MCOConfig(RCC_MCO1, RCC_MCO1SOURCE_HSE, RCC_MCODIV_1);
}

static void MX_DCMI_Init(void)
{

  hdcmi.Instance = DCMI;
  hdcmi.Init.SynchroMode = DCMI_SYNCHRO_HARDWARE;
  hdcmi.Init.PCKPolarity = DCMI_PCKPOLARITY_RISING;
  hdcmi.Init.VSPolarity = DCMI_VSPOLARITY_HIGH;
  hdcmi.Init.HSPolarity = DCMI_HSPOLARITY_LOW;
  hdcmi.Init.CaptureRate = DCMI_CR_ALL_FRAME;
  hdcmi.Init.ExtendedDataMode = DCMI_EXTEND_DATA_8B;
  hdcmi.Init.JPEGMode = DCMI_JPEG_DISABLE;
  hdcmi.Init.ByteSelectMode = DCMI_BSM_ALL;
  hdcmi.Init.ByteSelectStart = DCMI_OEBS_ODD;
  hdcmi.Init.LineSelectMode = DCMI_LSM_ALL;
  hdcmi.Init.LineSelectStart = DCMI_OELS_ODD;
  if (HAL_DCMI_Init(&hdcmi) != HAL_OK)
  {
    Error_Handler();
  }

}

static void MX_I2C1_Init(void)
{

  hi2c1.Instance = I2C1;
  hi2c1.Init.Timing = 0x307075B1;
  hi2c1.Init.OwnAddress1 = 0;
  hi2c1.Init.AddressingMode = I2C_ADDRESSINGMODE_7BIT;
  hi2c1.Init.DualAddressMode = I2C_DUALADDRESS_DISABLE;
  hi2c1.Init.OwnAddress2 = 0;
  hi2c1.Init.OwnAddress2Masks = I2C_OA2_NOMASK;
  hi2c1.Init.GeneralCallMode = I2C_GENERALCALL_DISABLE;
  hi2c1.Init.NoStretchMode = I2C_NOSTRETCH_DISABLE;
  if (HAL_I2C_Init(&hi2c1) != HAL_OK)
  {
    Error_Handler();
  }

  /** Configure Analogue filter
  */
  if (HAL_I2CEx_ConfigAnalogFilter(&hi2c1, I2C_ANALOGFILTER_ENABLE) != HAL_OK)
  {
    Error_Handler();
  }

  /** Configure Digital filter
  */
  if (HAL_I2CEx_ConfigDigitalFilter(&hi2c1, 0) != HAL_OK)
  {
    Error_Handler();
  }

}

static void MX_I2C4_Init(void)
{

  hi2c4.Instance = I2C4;
  hi2c4.Init.Timing = 0x307075B1;
  hi2c4.Init.OwnAddress1 = 0;
  hi2c4.Init.AddressingMode = I2C_ADDRESSINGMODE_7BIT;
  hi2c4.Init.DualAddressMode = I2C_DUALADDRESS_DISABLE;
  hi2c4.Init.OwnAddress2 = 0;
  hi2c4.Init.OwnAddress2Masks = I2C_OA2_NOMASK;
  hi2c4.Init.GeneralCallMode = I2C_GENERALCALL_DISABLE;
  hi2c4.Init.NoStretchMode = I2C_NOSTRETCH_DISABLE;
  if (HAL_I2C_Init(&hi2c4) != HAL_OK)
  {
    Error_Handler();
  }

  /** Configure Analogue filter
  */
  if (HAL_I2CEx_ConfigAnalogFilter(&hi2c4, I2C_ANALOGFILTER_ENABLE) != HAL_OK)
  {
    Error_Handler();
  }

  /** Configure Digital filter
  */
  if (HAL_I2CEx_ConfigDigitalFilter(&hi2c4, 0) != HAL_OK)
  {
    Error_Handler();
  }

}

static void MX_SDMMC1_SD_Init(void)
{

  hsd1.Instance = SDMMC1;
  hsd1.Init.ClockEdge = SDMMC_CLOCK_EDGE_RISING;
  hsd1.Init.ClockPowerSave = SDMMC_CLOCK_POWER_SAVE_DISABLE;
  hsd1.Init.BusWide = SDMMC_BUS_WIDE_4B;
  hsd1.Init.HardwareFlowControl = SDMMC_HARDWARE_FLOW_CONTROL_DISABLE;
  hsd1.Init.ClockDiv = 0;
  if (HAL_SD_Init(&hsd1) != HAL_OK)
  {
    Error_Handler();
  }

}

static void MX_USART3_UART_Init(void)
{

  huart3.Instance = USART3;
  huart3.Init.BaudRate = 1000000;
  huart3.Init.WordLength = UART_WORDLENGTH_8B;
  huart3.Init.StopBits = UART_STOPBITS_1;
  huart3.Init.Parity = UART_PARITY_NONE;
  huart3.Init.Mode = UART_MODE_TX_RX;
  huart3.Init.HwFlowCtl = UART_HWCONTROL_NONE;
  huart3.Init.OverSampling = UART_OVERSAMPLING_16;
  huart3.Init.OneBitSampling = UART_ONE_BIT_SAMPLE_DISABLE;
  huart3.Init.ClockPrescaler = UART_PRESCALER_DIV1;
  huart3.AdvancedInit.AdvFeatureInit = UART_ADVFEATURE_NO_INIT;
  if (HAL_UART_Init(&huart3) != HAL_OK)
  {
    Error_Handler();
  }
  if (HAL_UARTEx_SetTxFifoThreshold(&huart3, UART_TXFIFO_THRESHOLD_1_8) != HAL_OK)
  {
    Error_Handler();
  }
  if (HAL_UARTEx_SetRxFifoThreshold(&huart3, UART_RXFIFO_THRESHOLD_1_8) != HAL_OK)
  {
    Error_Handler();
  }
  if (HAL_UARTEx_DisableFifoMode(&huart3) != HAL_OK)
  {
    Error_Handler();
  }

}

static void MX_DMA_Init(void)
{

  /* DMA controller clock enable */
  __HAL_RCC_DMA1_CLK_ENABLE();

  /* DMA interrupt init */
  /* DMA1_Stream0_IRQn interrupt configuration */
  HAL_NVIC_SetPriority(DMA1_Stream0_IRQn, 0, 0);
  HAL_NVIC_EnableIRQ(DMA1_Stream0_IRQn);

}

static void MX_GPIO_Init(void)
{
  GPIO_InitTypeDef GPIO_InitStruct = {0};

  /* GPIO Ports Clock Enable */
  __HAL_RCC_GPIOE_CLK_ENABLE();
  __HAL_RCC_GPIOC_CLK_ENABLE();
  __HAL_RCC_GPIOH_CLK_ENABLE();
  __HAL_RCC_GPIOA_CLK_ENABLE();
  __HAL_RCC_GPIOB_CLK_ENABLE();
  __HAL_RCC_GPIOD_CLK_ENABLE();

  /*Configure GPIO pin Output Level */
  HAL_GPIO_WritePin(GPIOA, GPIO_PIN_7, GPIO_PIN_RESET);

  /*Configure GPIO pin Output Level */
  HAL_GPIO_WritePin(GPIOC, GPIO_PIN_4, GPIO_PIN_RESET);

  /*Configure GPIO pin : PA7 */
  GPIO_InitStruct.Pin = GPIO_PIN_7;
  GPIO_InitStruct.Mode = GPIO_MODE_OUTPUT_PP;
  GPIO_InitStruct.Pull = GPIO_NOPULL;
  GPIO_InitStruct.Speed = GPIO_SPEED_FREQ_LOW;
  HAL_GPIO_Init(GPIOA, &GPIO_InitStruct);

  /*Configure GPIO pin : PC4 */
  GPIO_InitStruct.Pin = GPIO_PIN_4;
  GPIO_InitStruct.Mode = GPIO_MODE_OUTPUT_PP;
  GPIO_InitStruct.Pull = GPIO_NOPULL;
  GPIO_InitStruct.Speed = GPIO_SPEED_FREQ_LOW;
  HAL_GPIO_Init(GPIOC, &GPIO_InitStruct);

  /*Configure GPIO pin : PD9 */
  GPIO_InitStruct.Pin = GPIO_PIN_9;
  GPIO_InitStruct.Mode = GPIO_MODE_INPUT;
  GPIO_InitStruct.Pull = GPIO_PULLDOWN;
  HAL_GPIO_Init(GPIOD, &GPIO_InitStruct);

  /*Configure GPIO pin : PA8 */
  GPIO_InitStruct.Pin = GPIO_PIN_8;
  GPIO_InitStruct.Mode = GPIO_MODE_AF_PP;
  GPIO_InitStruct.Pull = GPIO_NOPULL;
  GPIO_InitStruct.Speed = GPIO_SPEED_FREQ_LOW;
  GPIO_InitStruct.Alternate = GPIO_AF0_MCO;
  HAL_GPIO_Init(GPIOA, &GPIO_InitStruct);

  /* USER CODE BEGIN MX_GPIO_Init_2 */
#ifdef OLED_ENABLED
  // ---> I2C4 pins, only configured in OLED mode, so debug mode's GPIO state is
  //      identical to the original known-working build
  GPIO_InitTypeDef GPIO_InitStruct_I2C4 = {0};
  GPIO_InitStruct_I2C4.Pin       = GPIO_PIN_12 | GPIO_PIN_13;   // ---> PD12 = SCL, PD13 = SDA
  GPIO_InitStruct_I2C4.Mode      = GPIO_MODE_AF_OD;
  GPIO_InitStruct_I2C4.Pull      = GPIO_PULLUP;
  GPIO_InitStruct_I2C4.Speed     = GPIO_SPEED_FREQ_LOW;
  GPIO_InitStruct_I2C4.Alternate = GPIO_AF4_I2C4;
  HAL_GPIO_Init(GPIOD, &GPIO_InitStruct_I2C4);
#endif
  /* USER CODE END MX_GPIO_Init_2 */
}

/* USER CODE BEGIN 4 */

//---------------------------------------------------------------------------------------------------------------------------
// extract_gray :
//   ---> extracts Y channel from YUV422 frame buffer
//   ---> YUV422 format : Y0 U0 Y1 V0 Y2 U2 Y3 V2 ...
//   ---> inputs  : src  ---> YUV422 buffer (160*120*2 bytes)
//   ---> outputs : dst  ---> grayscale buffer (160*120 bytes)
//---------------------------------------------------------------------------------------------------------------------------
static void extract_gray(uint8_t *src, uint8_t *dst)
{
    for(int i = 0; i < 160 * 120; i++)
    {
        dst[i] = src[i * 2 + 1];     // ---> Y is at the odd byte index for this camera
    }
}
//---------------------------------------------------------------------------------------------------------------------------

//---------------------------------------------------------------------------------------------------------------------------
// downsample_28x28 :
//   ---> center crops 90x120 from 160x120 then downsamples to 28x28
//   ---> applies adaptive threshold + inversion to match MNIST style
//   ---> inputs  : src ---> grayscale buffer (160*120 bytes)
//   ---> outputs : dst ---> 28x28 buffer (784 bytes)
//---------------------------------------------------------------------------------------------------------------------------
static void downsample_28x28(uint8_t *src, uint8_t *dst)
{
    int x_start = 35;
    int y_start = 0;
    int width   = 90;
    int height  = 120;

    // ---> compute adaptive threshold from center region
    uint32_t total = 0;
    for(int y = y_start + 5; y < y_start + height - 5; y++)
        for(int x = x_start + 5; x < x_start + width - 5; x++)
            total += src[y * 160 + x];
    uint8_t threshold = (uint8_t)(total / (100 * 100));

    // ---> downsample to 28x28
    for(int row = 0; row < 28; row++)
    {
        for(int col = 0; col < 28; col++)
        {
            uint32_t sum = 0;
            int count = 0;

            for(int dy = 0; dy < 4; dy++)
            {
                for(int dx = 0; dx < 4; dx++)
                {
                    int y = y_start + (row * height / 28) + dy;
                    int x = x_start + (col * width  / 28) + dx;
                    if(y < 120 && x < 160)
                    {
                        sum += src[y * 160 + x];
                        count++;
                    }
                }
            }

            uint8_t avg = count > 0 ? (uint8_t)(sum / count) : 128;

            // ---> stretch contrast instead of hard threshold, invert so dark digit
            //      on white paper becomes bright on dark, like MNIST
            dst[row * 28 + col] = (avg < threshold) ? (uint8_t)((threshold - avg) * 255 / threshold) : 0;
        }
    }

    // ---> only force left and right borders
    for(int i = 0; i < 28; i++)
    {
        dst[i * 28 + 0]  = 0;
        dst[i * 28 + 1]  = 0;
        dst[i * 28 + 2]  = 0;
        dst[i * 28 + 27] = 0;
        dst[i * 28 + 26] = 0;
        dst[i * 28 + 25] = 0;
    }
}

//---------------------------------------------------------------------------------------------------------------------------

/* USER CODE END 4 */

 /* MPU Configuration */

void MPU_Config(void)
{
  MPU_Region_InitTypeDef MPU_InitStruct = {0};

  /* Disables the MPU */
  HAL_MPU_Disable();

  /** Initializes and configures the Region and the memory to be protected
  */
  MPU_InitStruct.Enable = MPU_REGION_ENABLE;
  MPU_InitStruct.Number = MPU_REGION_NUMBER0;
  MPU_InitStruct.BaseAddress = 0x0;
  MPU_InitStruct.Size = MPU_REGION_SIZE_4GB;
  MPU_InitStruct.SubRegionDisable = 0x87;
  MPU_InitStruct.TypeExtField = MPU_TEX_LEVEL0;
  MPU_InitStruct.AccessPermission = MPU_REGION_NO_ACCESS;
  MPU_InitStruct.DisableExec = MPU_INSTRUCTION_ACCESS_DISABLE;
  MPU_InitStruct.IsShareable = MPU_ACCESS_SHAREABLE;
  MPU_InitStruct.IsCacheable = MPU_ACCESS_NOT_CACHEABLE;
  MPU_InitStruct.IsBufferable = MPU_ACCESS_NOT_BUFFERABLE;

  HAL_MPU_ConfigRegion(&MPU_InitStruct);
  /* Enables the MPU */
  HAL_MPU_Enable(MPU_PRIVILEGED_DEFAULT);

}

void Error_Handler(void)
{
  __disable_irq();
  while (1)
  {
  }
}
